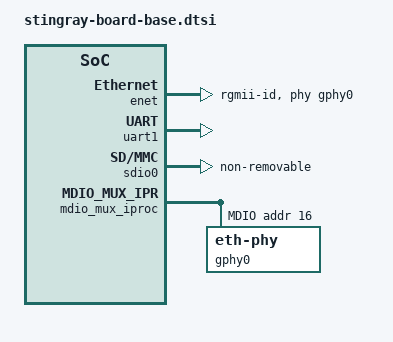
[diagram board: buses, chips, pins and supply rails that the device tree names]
// SPDX-License-Identifier: (GPL-2.0 or BSD-3-Clause)
/*
 *  Copyright(c) 2016-2018 Broadcom
 */

#include "stingray.dtsi"
#include <dt-bindings/gpio/gpio.h>

/ {
	aliases {
		serial0 = &uart1;
		serial1 = &uart0;
		serial2 = &uart2;
		serial3 = &uart3;
	};

	chosen {
		stdout-path = "serial0:115200n8";
	};
};

&memory { /* Default DRAM banks */
	reg = <0x00000000 0x80000000 0x0 0x80000000>, /* 2G @ 2G */
	      <0x00000008 0x80000000 0x1 0x80000000>; /* 6G @ 34G */
};

&enet {
	phy-mode = "rgmii-id";
	phy-handle = <&gphy0>;
};

&uart1 {
	status = "okay";
};

&sdio0 {
	non-removable;
	full-pwr-cycle;
};

&sdio1 {
	full-pwr-cycle;
};

&mdio_mux_iproc {
	mdio@10 {
		gphy0: eth-phy@10 {
			reg = <0x10>;
		};
	};
};
